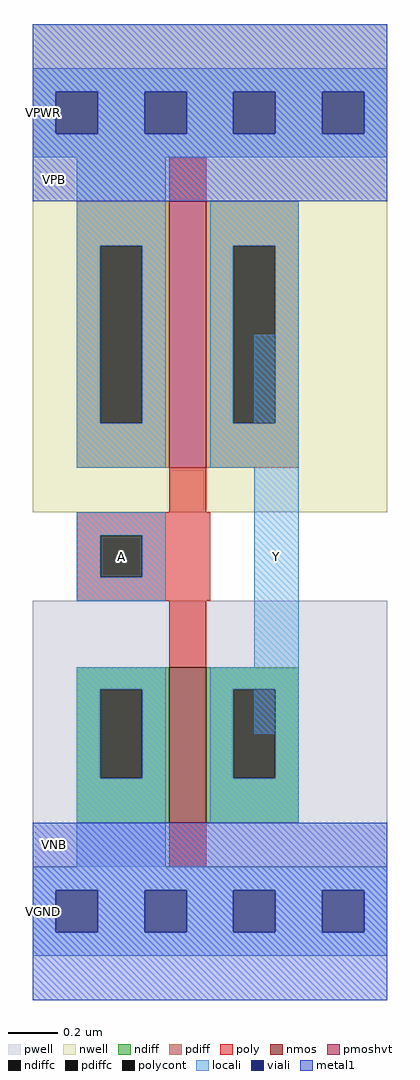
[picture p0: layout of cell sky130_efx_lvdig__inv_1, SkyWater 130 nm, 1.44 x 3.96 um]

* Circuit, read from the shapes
.subckt sky130_efx_lvdig__inv_1 A Y VPWR VGND VPB VNB
XM1 Y A VGND VNB sky130_fd_pr__nfet_01v8 w=0.63 l=0.15
XM2 Y A VPWR VPB sky130_fd_pr__pfet_01v8_hvt w=1.08 l=0.15
.ends

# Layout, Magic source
magic
tech sky130A
magscale 1 2
<< nwell >>
rect 0 288 288 684
<< pwell >>
rect 0 0 288 216
<< poly >>
rect 36 269 144 288
rect 36 235 55 269
rect 89 235 144 269
rect 36 216 144 235
<< polycont >>
rect 55 235 89 269
<< locali >>
rect 0 629 288 648
rect 0 595 19 629
rect 53 595 91 629
rect 125 595 163 629
rect 197 595 235 629
rect 269 595 288 629
rect 0 576 288 595
rect 36 504 108 576
rect 36 269 108 288
rect 36 235 55 269
rect 89 235 108 269
rect 36 216 108 235
rect 180 108 216 432
rect 36 0 108 72
rect 0 -19 288 0
rect 0 -53 19 -19
rect 53 -53 91 -19
rect 125 -53 163 -19
rect 197 -53 235 -19
rect 269 -53 288 -19
rect 0 -72 288 -53
<< viali >>
rect 19 595 53 629
rect 91 595 125 629
rect 163 595 197 629
rect 235 595 269 629
rect 19 -53 53 -19
rect 91 -53 125 -19
rect 163 -53 197 -19
rect 235 -53 269 -19
<< metal1 >>
rect 0 629 288 684
rect 0 595 19 629
rect 53 595 91 629
rect 125 595 163 629
rect 197 595 235 629
rect 269 595 288 629
rect 0 540 288 595
rect 0 -19 288 36
rect 0 -53 19 -19
rect 53 -53 91 -19
rect 125 -53 163 -19
rect 197 -53 235 -19
rect 269 -53 288 -19
rect 0 -108 288 -53
use nmos_n3f5_f1_l150  nmos_n3f5_f1_l150_0
transform 1 0 72 0 1 36
box -72 -36 180 180
use pmos_n6_f1_l150_hvt  pmos_n6_f1_l150_hvt_0
transform 1 0 72 0 1 324
box -72 -36 180 252
<< labels >>
flabel locali 36 216 108 288 0 FreeSans 288 0 0 0 A
port 1 nsew signal input
flabel locali 180 216 216 288 0 FreeSans 288 0 0 0 Y
port 2 nsew signal output
flabel metal1 0 576 18 648 0 FreeSans 288 0 0 0 VPWR
port 3 nsew power bidirectional
flabel metal1 0 -72 18 0 0 FreeSans 288 0 0 0 VGND
port 4 nsew ground bidirectional
flabel nwell 0 540 36 576 0 FreeSans 288 0 0 0 VPB
port 5 nsew power bidirectional
flabel pwell 0 0 36 36 0 FreeSans 288 0 0 0 VNB
port 6 nsew ground bidirectional
<< properties >>
string FIXED_BBOX 0 -36 288 612
<< end >>

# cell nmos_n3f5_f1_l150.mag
magic
tech sky130A
magscale 1 2
<< pwell >>
rect -72 -36 180 180
<< nmos >>
rect 39 0 69 126
<< ndiff >>
rect -36 108 39 126
rect -36 36 -17 108
rect 17 36 39 108
rect -36 0 39 36
rect 69 108 144 126
rect 69 36 91 108
rect 125 36 144 108
rect 69 0 144 36
<< ndiffc >>
rect -17 36 17 108
rect 91 36 125 108
<< poly >>
rect 39 126 69 180
rect 39 -36 69 0
<< locali >>
rect -36 108 36 126
rect -36 36 -17 108
rect 17 36 36 108
rect -36 0 36 36
rect 72 108 144 126
rect 72 36 91 108
rect 125 36 144 108
rect 72 0 144 36
<< labels >>
rlabel locali 0 18 0 18 0 S0
port 1 nsew
rlabel locali 108 18 108 18 0 D0
port 2 nsew
<< end >>

# cell pmos_n6_f1_l150_hvt: kit device pmos, n 6 fingers 1 length 0.15 butted 0 ltap 0 rtap 0 vt hvt tgate 0 bgate 0
